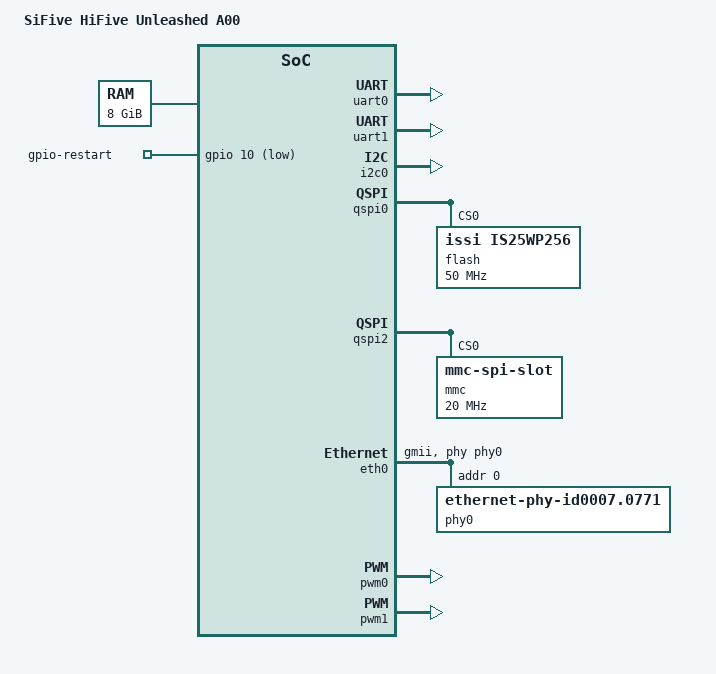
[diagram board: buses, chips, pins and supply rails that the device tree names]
// SPDX-License-Identifier: (GPL-2.0 OR MIT)
/* Copyright (c) 2018-2019 SiFive, Inc */

#include "fu540-c000.dtsi"
#include <dt-bindings/gpio/gpio.h>

/* Clock frequency (in Hz) of the PCB crystal for rtcclk */
#define RTCCLK_FREQ		1000000

/ {
	#address-cells = <2>;
	#size-cells = <2>;
	model = "SiFive HiFive Unleashed A00";
	compatible = "sifive,hifive-unleashed-a00", "sifive,fu540-c000";

	chosen {
		stdout-path = "serial0";
	};

	cpus {
		timebase-frequency = <RTCCLK_FREQ>;
	};

	memory@80000000 {
		device_type = "memory";
		reg = <0x0 0x80000000 0x2 0x00000000>;
	};

	soc {
	};

	hfclk: hfclk {
		#clock-cells = <0>;
		compatible = "fixed-clock";
		clock-frequency = <33333333>;
		clock-output-names = "hfclk";
	};

	rtcclk: rtcclk {
		#clock-cells = <0>;
		compatible = "fixed-clock";
		clock-frequency = <RTCCLK_FREQ>;
		clock-output-names = "rtcclk";
	};
	gpio-restart {
		compatible = "gpio-restart";
		gpios = <&gpio 10 GPIO_ACTIVE_LOW>;
	};
};

&uart0 {
	status = "okay";
};

&uart1 {
	status = "okay";
};

&i2c0 {
	status = "okay";
};

&qspi0 {
	status = "okay";
	flash@0 {
		compatible = "issi,is25wp256", "jedec,spi-nor";
		reg = <0>;
		spi-max-frequency = <50000000>;
		m25p,fast-read;
		spi-tx-bus-width = <4>;
		spi-rx-bus-width = <4>;
	};
};

&qspi2 {
	status = "okay";
	mmc@0 {
		compatible = "mmc-spi-slot";
		reg = <0>;
		spi-max-frequency = <20000000>;
		voltage-ranges = <3300 3300>;
		disable-wp;
	};
};

&eth0 {
	status = "okay";
	phy-mode = "gmii";
	phy-handle = <&phy0>;
	phy0: ethernet-phy@0 {
		compatible = "ethernet-phy-id0007.0771";
		reg = <0>;
	};
};

&pwm0 {
	status = "okay";
};

&pwm1 {
	status = "okay";
};

&gpio {
	status = "okay";
};
